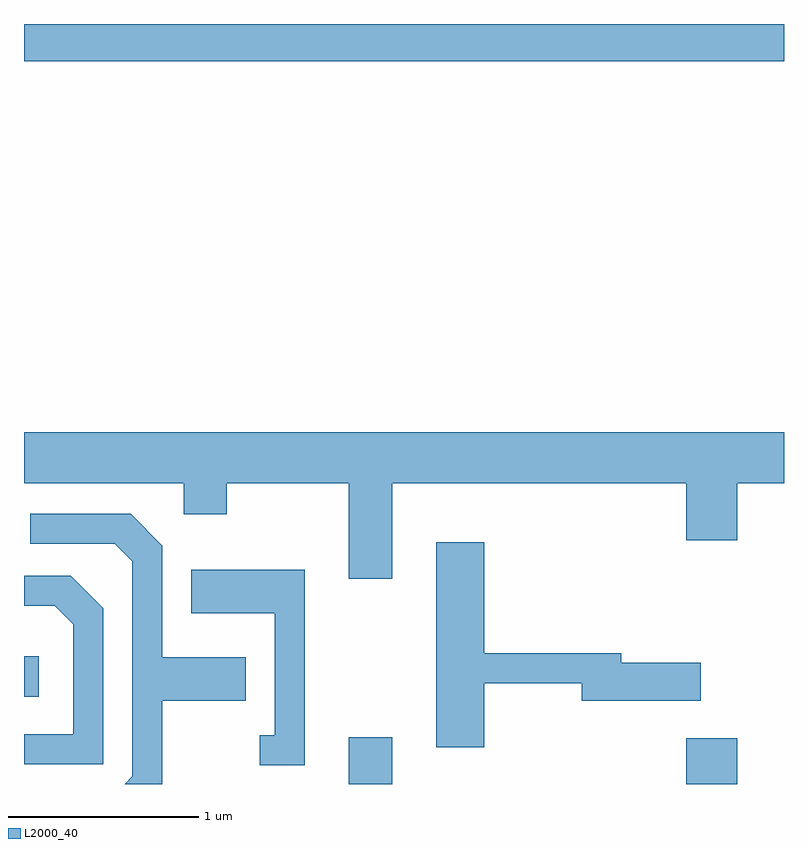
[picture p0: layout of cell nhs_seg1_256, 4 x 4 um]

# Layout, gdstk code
import gdstk
lib = gdstk.Library(unit=1e-6, precision=1e-09)
def R(c, l, rs):  # rectangles x0, y0, x1, y1
    for r in rs: c.add(gdstk.rectangle(r[:2], r[2:], *l))
def P(c, l, *ps):  # polygons
    for p in ps: c.add(gdstk.Polygon(p, *l))
L2000_40 = (2000, 40)

nhs_seg1_256 = lib.new_cell('nhs_seg1_256')
R(nhs_seg1_256, L2000_40, [(193.321,955.712,193.549,955.959), (195.096,955.712,195.364,955.954), (191.611,956.171,191.689,956.384), (191.611,959.516,195.611,959.712)])
P(nhs_seg1_256, L2000_40, [(193.549,957.296),(195.096,957.296),(195.096,956.996),(195.364,956.996),(195.364,957.296),(195.611,957.296),(195.611,957.564),(191.611,957.564),(191.611,957.296),(192.451,957.296),(192.451,957.131),(192.679,957.131),(192.679,957.296),(193.321,957.296),(193.321,956.791),(193.549,956.791)],
  [(192.339,956.151),(192.779,956.151),(192.779,956.379),(192.339,956.379),(192.339,956.967),(192.172,957.134),(191.643,957.134),(191.643,956.976),(192.089,956.976),(192.181,956.884),(192.181,955.752),(192.141,955.712),(192.339,955.712)],
  [(194.034,956.241),(194.546,956.241),(194.546,956.151),(195.174,956.151),(195.174,956.349),(194.754,956.349),(194.754,956.399),(194.034,956.399),(194.034,956.984),(193.781,956.984),(193.781,955.906),(194.034,955.906)],
  [(193.089,956.839),(192.491,956.839),(192.491,956.611),(192.931,956.611),(192.931,955.969),(192.853,955.969),(192.853,955.811),(193.089,955.811)],
  [(192.029,956.637),(191.857,956.809),(191.611,956.809),(191.611,956.651),(191.774,956.651),(191.871,956.554),(191.871,955.974),(191.611,955.974),(191.611,955.816),(192.029,955.816)])

lib.write_gds('nhs_seg1_256.gds')
